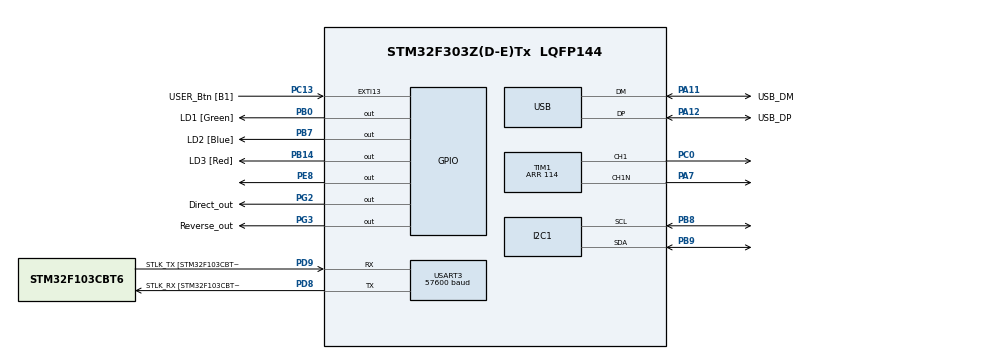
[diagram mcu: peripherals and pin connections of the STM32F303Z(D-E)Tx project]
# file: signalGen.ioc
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Mcu.Family=STM32F3
Mcu.Name=STM32F303Z(D-E)Tx
Mcu.Package=LQFP144
NVIC.I2C1_ER_IRQn=true\:0\:0\:false\:false\:true\:true\:true
NVIC.I2C1_EV_IRQn=true\:0\:0\:false\:false\:true\:true\:true
NVIC.PriorityGroup=NVIC_PRIORITYGROUP_4
NVIC.TIM6_DAC_IRQn=true\:0\:0\:false\:false\:true\:true\:true
NVIC.USART3_IRQn=true\:0\:0\:false\:false\:true\:true\:true
NVIC.USB_LP_CAN_RX0_IRQn=true\:0\:0\:false\:false\:true\:true\:true
PA11.GPIO_Label=USB_DM
PA11.Mode=Device
PA11.Signal=USB_DM
PA12.GPIO_Label=USB_DP
PA12.Mode=Device
PA12.Signal=USB_DP
PA13.GPIO_Label=TMS
PA13.Mode=Serial_Wire
PA13.Signal=SYS_JTMS-SWDIO
PA14.GPIO_Label=TCK
PA14.Mode=Serial_Wire
PA14.Signal=SYS_JTCK-SWCLK
PA7.Mode=PWM Generation1 CH1 CH1N
PA7.Signal=TIM1_CH1N
PB0.GPIO_Label=LD1 [Green]
PB0.Signal=GPIO_Output
PB14.GPIO_Label=LD3 [Red]
PB14.Signal=GPIO_Output
PB3.GPIO_Label=SWO
PB3.Signal=SYS_JTDO-TRACESWO
PB7.GPIO_Label=LD2 [Blue]
PB7.Signal=GPIO_Output
PB8.Mode=I2C
PB8.Signal=I2C1_SCL
PB9.Mode=I2C
PB9.Signal=I2C1_SDA
PC0.Signal=S_TIM1_CH1
PC13.GPIO_Label=USER_Btn [B1]
PC13.Signal=GPXTI13
PC14-OSC32_IN.Mode=LSE-External-Oscillator
PC14-OSC32_IN.Signal=RCC_OSC32_IN
PC15-OSC32_OUT.Mode=LSE-External-Oscillator
PC15-OSC32_OUT.Signal=RCC_OSC32_OUT
PD8.GPIO_Label=STLK_RX [STM32F103CBT6_PA3]
PD8.Mode=Asynchronous
PD8.Signal=USART3_TX
PD9.GPIO_Label=STLK_TX [STM32F103CBT6_PA2]
PD9.Mode=Asynchronous
PD9.Signal=USART3_RX
PE8.PinState=GPIO_PIN_RESET
PE8.Signal=GPIO_Output
PF0-OSC_IN.GPIO_Label=MCO [STM32F103CBT6_PA8]
PF0-OSC_IN.Mode=HSE-External-Clock-Source
PF0-OSC_IN.Signal=RCC_OSC_IN
PG2.GPIO_Label=Direct_out
PG2.GPIO_Speed=GPIO_SPEED_FREQ_MEDIUM
PG2.PinState=GPIO_PIN_SET
PG2.Signal=GPIO_Output
PG3.GPIO_Label=Reverse_out
PG3.GPIO_Speed=GPIO_SPEED_FREQ_MEDIUM
PG3.PinState=GPIO_PIN_SET
PG3.Signal=GPIO_Output
ProjectManager.HeapSize=0x200
ProjectManager.StackSize=0x400
ProjectManager.TargetToolchain=MDK-ARM V5.27
RCC.AHBFreq_Value=72000000
RCC.APB1CLKDivider=RCC_HCLK_DIV2
RCC.APB1Freq_Value=36000000
RCC.APB1TimFreq_Value=72000000
RCC.APB2Freq_Value=72000000
RCC.APB2TimFreq_Value=72000000
RCC.CortexFreq_Value=72000000
RCC.HCLKFreq_Value=72000000
RCC.HSE_VALUE=8000000
RCC.HSI_VALUE=8000000
RCC.PLLMUL=RCC_PLL_MUL9
RCC.PRESCALERUSB=RCC_USBCLKSOURCE_PLL_DIV1_5
RCC.SYSCLKFreq_VALUE=72000000
RCC.SYSCLKSourceVirtual=RCC_SYSCLKSOURCE_PLLCLK
RCC.USBFreq_Value=48000000
SH.S_TIM1_CH1.0=TIM1_CH1,PWM Generation1 CH1 CH1N
TIM1.Break2Polarity=TIM_BREAK2POLARITY_LOW
TIM1.BreakPolarity=TIM_BREAKPOLARITY_LOW
TIM1.Channel-PWM\ Generation1\ CH1\ CH1N=TIM_CHANNEL_1
TIM1.CounterMode=TIM_COUNTERMODE_UP
TIM1.OCNIdleState_1=TIM_OCNIDLESTATE_RESET
TIM1.OCNPolarity_1=TIM_OCNPOLARITY_LOW
TIM1.OCPolarity_1=TIM_OCPOLARITY_LOW
TIM1.Period=114
TIM1.Pulse-PWM\ Generation1\ CH1\ CH1N=44
TIM6.Period=100
TIM6.Prescaler=720
USART3.BaudRate=57600
USART3.VirtualMode-Asynchronous=VM_ASYNC
VP_RTC_VS_RTC_Activate.Mode=RTC_Enabled
VP_TIM1_VS_ClockSourceINT.Mode=Internal
VP_TIM6_VS_ClockSourceINT.Mode=Enable_Timer
board=NUCLEO-F303ZE

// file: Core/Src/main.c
/* USER CODE BEGIN Header */
/**
  ******************************************************************************
  * @file           : main.c
  * @brief          : Main program body
  ******************************************************************************
  * @attention
  *
  * Copyright (c) 2022 STMicroelectronics.
  * All rights reserved.
  *
  * This software is licensed under terms that can be found in the LICENSE file
  * in the root directory of this software component.
  * If no LICENSE file comes with this software, it is provided AS-IS.
  *
  ******************************************************************************
  */
/* USER CODE END Header */
#include "main.h"

/* USER CODE BEGIN Includes */

#include <stdio.h>
#include "stm32f3xx_ll_tim.h"
#include "pulsegen.h"
//#include "uart_io.h"
#include "tmp1075.h"
#include "vars_it.h"
#include "global_io.h"

/* USER CODE END Includes */

I2C_HandleTypeDef hi2c1;

TIM_HandleTypeDef htim1;
TIM_HandleTypeDef htim6;

PCD_HandleTypeDef hpcd_USB_FS;

/* USER CODE BEGIN PV */
uint16_t impulseFlagIT = 0;
/* USER CODE END PV */

void SystemClock_Config(void);
static void MX_GPIO_Init(void);
static void MX_RTC_Init(void);
static void MX_USART3_UART_Init(void);
static void MX_USB_PCD_Init(void);
static void MX_TIM1_Init(void);
static void MX_TIM6_Init(void);
static void MX_I2C1_Init(void);

int main(void)
{
  /* USER CODE BEGIN 1 */

	// Filling the structure of TIM 1 common parameters
	tim1SetCmnParameters();
  /* USER CODE END 1 */

  /* MCU Configuration--------------------------------------------------------*/

  /* Reset of all peripherals, Initializes the Flash interface and the Systick. */
  HAL_Init();

  /* Configure the system clock */
  SystemClock_Config();

  /* Initialize all configured peripherals */
  MX_GPIO_Init();
  MX_RTC_Init();
  MX_USART3_UART_Init();
  MX_USB_PCD_Init();
  MX_TIM1_Init();
  MX_TIM6_Init();
  MX_I2C1_Init();
  /* USER CODE BEGIN 2 */

	// ------------My Initialize TIM 1 ---------------
	tim1InitCmnParameters();

	// Initialize TIM1 in PWM mode.
	// Outputs PC0 and PA7 are confirured as Timer's generation outputs (CH1 and inverted CH1).
	HAL_TIM_PWM_Start_IT(&htim1, TIM_CHANNEL_1);
	HAL_TIMEx_PWMN_Start(&htim1, TIM_CHANNEL_1);

	// Starting TIM6 in interrupt.
	HAL_TIM_Base_Start_IT(&htim6);

	// ------------My Initialize I2C1 ---------------
	// Configure as a host
	SET_BIT(I2C1->CR1, I2C_CR1_SMBHEN);

	// Alert interrupts enable
	SET_BIT(I2C1->CR1, I2C_CR1_ERRIE);
	SET_BIT(I2C1->CR1, I2C_CR1_ALERTEN);

	// Init Alert pin
	LL_GPIO_InitTypeDef GPIO_InitStruct = {0};

  GPIO_InitStruct.Pin = LL_GPIO_PIN_5;
  GPIO_InitStruct.Mode = LL_GPIO_MODE_ALTERNATE;
  GPIO_InitStruct.Speed = LL_GPIO_SPEED_FREQ_HIGH;
  GPIO_InitStruct.OutputType = LL_GPIO_OUTPUT_OPENDRAIN;
  GPIO_InitStruct.Pull = LL_GPIO_PULL_NO;
  GPIO_InitStruct.Alternate = LL_GPIO_AF_4;
  LL_GPIO_Init(GPIOB, &GPIO_InitStruct);

	// TESTING:
	// fill the tmp structs
	setAllDefaultTmpParameters(DEFAULT_TLOW, DEFAULT_THIGH, ON);
	setIndividualTmpParameters(4, 0, 29, OFF);
	setIndividualTmpParameters(10, 100, 126, OFF);
	setIndividualTmpParameters(11, 100, 122, ON);
	showAllTmpParameters(ON);

	// Transmit param through uart
	// ~TESTING:

	fillConnectedTmpBufferByDefault();

	// Init Alerts in tmp1075
	initAlertSelectedTmps(connectedTmpNums, tmpBufSize);

	// Set number of faults for crossing the high level limit of temperature
	initNumFaultsSelectedTmps(connectedTmpNums, tmpBufSize, 4);

	//Init the USART IT for event of filling data register
	LL_USART_EnableIT_RXNE(USART3);
	//LL_USART_EnableIT_TC(USART3);

  /* USER CODE END 2 */

  /* Infinite loop */
  /* USER CODE BEGIN WHILE */
  while (1)
  {
		tempOutput();
		handlerAlertIT(connectedTmpNums, tmpBufSize);
		inputCommandWizard();

    /* USER CODE END WHILE */

  }
}

void SystemClock_Config(void)
{
  LL_FLASH_SetLatency(LL_FLASH_LATENCY_2);
  while(LL_FLASH_GetLatency()!= LL_FLASH_LATENCY_2)
  {
  }
  LL_RCC_HSE_EnableBypass();
  LL_RCC_HSE_Enable();

   /* Wait till HSE is ready */
  while(LL_RCC_HSE_IsReady() != 1)
  {

  }
  LL_RCC_HSI_Enable();

   /* Wait till HSI is ready */
  while(LL_RCC_HSI_IsReady() != 1)
  {

  }
  LL_RCC_HSI_SetCalibTrimming(16);
  LL_RCC_LSI_Enable();

   /* Wait till LSI is ready */
  while(LL_RCC_LSI_IsReady() != 1)
  {

  }
  LL_PWR_EnableBkUpAccess();
  if(LL_RCC_GetRTCClockSource() != LL_RCC_RTC_CLKSOURCE_LSI)
  {
    LL_RCC_ForceBackupDomainReset();
    LL_RCC_ReleaseBackupDomainReset();
    LL_RCC_SetRTCClockSource(LL_RCC_RTC_CLKSOURCE_LSI);
  }
  LL_RCC_EnableRTC();
  LL_RCC_PLL_ConfigDomain_SYS(LL_RCC_PLLSOURCE_HSE, LL_RCC_PLL_MUL_9, LL_RCC_PREDIV_DIV_1);
  LL_RCC_PLL_Enable();

   /* Wait till PLL is ready */
  while(LL_RCC_PLL_IsReady() != 1)
  {

  }
  LL_RCC_SetAHBPrescaler(LL_RCC_SYSCLK_DIV_1);
  LL_RCC_SetAPB1Prescaler(LL_RCC_APB1_DIV_2);
  LL_RCC_SetAPB2Prescaler(LL_RCC_APB2_DIV_1);
  LL_RCC_SetSysClkSource(LL_RCC_SYS_CLKSOURCE_PLL);

   /* Wait till System clock is ready */
  while(LL_RCC_GetSysClkSource() != LL_RCC_SYS_CLKSOURCE_STATUS_PLL)
  {

  }
  LL_SetSystemCoreClock(72000000);

   /* Update the time base */
  if (HAL_InitTick (TICK_INT_PRIORITY) != HAL_OK)
  {
    Error_Handler();
  }
  LL_RCC_SetUSARTClockSource(LL_RCC_USART3_CLKSOURCE_PCLK1);
  LL_RCC_SetI2CClockSource(LL_RCC_I2C1_CLKSOURCE_HSI);
  LL_RCC_SetTIMClockSource(LL_RCC_TIM1_CLKSOURCE_PCLK2);
  LL_RCC_SetUSBClockSource(LL_RCC_USB_CLKSOURCE_PLL_DIV_1_5);
}

static void MX_I2C1_Init(void)
{

  hi2c1.Instance = I2C1;
  hi2c1.Init.Timing = 0x2000090E;
  hi2c1.Init.OwnAddress1 = 0;
  hi2c1.Init.AddressingMode = I2C_ADDRESSINGMODE_7BIT;
  hi2c1.Init.DualAddressMode = I2C_DUALADDRESS_DISABLE;
  hi2c1.Init.OwnAddress2 = 0;
  hi2c1.Init.OwnAddress2Masks = I2C_OA2_NOMASK;
  hi2c1.Init.GeneralCallMode = I2C_GENERALCALL_DISABLE;
  hi2c1.Init.NoStretchMode = I2C_NOSTRETCH_DISABLE;
  if (HAL_I2C_Init(&hi2c1) != HAL_OK)
  {
    Error_Handler();
  }
  /** Configure Analogue filter
  */
  if (HAL_I2CEx_ConfigAnalogFilter(&hi2c1, I2C_ANALOGFILTER_ENABLE) != HAL_OK)
  {
    Error_Handler();
  }
  /** Configure Digital filter
  */
  if (HAL_I2CEx_ConfigDigitalFilter(&hi2c1, 0) != HAL_OK)
  {
    Error_Handler();
  }

}

static void MX_RTC_Init(void)
{

  LL_RTC_InitTypeDef RTC_InitStruct = {0};

  /* Peripheral clock enable */
  LL_RCC_EnableRTC();

  /** Initialize RTC and set the Time and Date
  */
  RTC_InitStruct.HourFormat = LL_RTC_HOURFORMAT_24HOUR;
  RTC_InitStruct.AsynchPrescaler = 127;
  RTC_InitStruct.SynchPrescaler = 255;
  LL_RTC_Init(RTC, &RTC_InitStruct);
  LL_RTC_SetAsynchPrescaler(RTC, 127);
  LL_RTC_SetSynchPrescaler(RTC, 255);

}

static void MX_TIM1_Init(void)
{

  TIM_ClockConfigTypeDef sClockSourceConfig = {0};
  TIM_MasterConfigTypeDef sMasterConfig = {0};
  TIM_OC_InitTypeDef sConfigOC = {0};
  TIM_BreakDeadTimeConfigTypeDef sBreakDeadTimeConfig = {0};

  htim1.Instance = TIM1;
  htim1.Init.Prescaler = 0;
  htim1.Init.CounterMode = TIM_COUNTERMODE_UP;
  htim1.Init.Period = 114;
  htim1.Init.ClockDivision = TIM_CLOCKDIVISION_DIV1;
  htim1.Init.RepetitionCounter = 0;
  htim1.Init.AutoReloadPreload = TIM_AUTORELOAD_PRELOAD_DISABLE;
  if (HAL_TIM_Base_Init(&htim1) != HAL_OK)
  {
    Error_Handler();
  }
  sClockSourceConfig.ClockSource = TIM_CLOCKSOURCE_INTERNAL;
  if (HAL_TIM_ConfigClockSource(&htim1, &sClockSourceConfig) != HAL_OK)
  {
    Error_Handler();
  }
  if (HAL_TIM_PWM_Init(&htim1) != HAL_OK)
  {
    Error_Handler();
  }
  sMasterConfig.MasterOutputTrigger = TIM_TRGO_RESET;
  sMasterConfig.MasterOutputTrigger2 = TIM_TRGO2_RESET;
  sMasterConfig.MasterSlaveMode = TIM_MASTERSLAVEMODE_DISABLE;
  if (HAL_TIMEx_MasterConfigSynchronization(&htim1, &sMasterConfig) != HAL_OK)
  {
    Error_Handler();
  }
  sConfigOC.OCMode = TIM_OCMODE_PWM1;
  sConfigOC.Pulse = 44;
  sConfigOC.OCPolarity = TIM_OCPOLARITY_LOW;
  sConfigOC.OCNPolarity = TIM_OCNPOLARITY_LOW;
  sConfigOC.OCFastMode = TIM_OCFAST_DISABLE;
  sConfigOC.OCIdleState = TIM_OCIDLESTATE_RESET;
  sConfigOC.OCNIdleState = TIM_OCNIDLESTATE_RESET;
  if (HAL_TIM_PWM_ConfigChannel(&htim1, &sConfigOC, TIM_CHANNEL_1) != HAL_OK)
  {
    Error_Handler();
  }
  sBreakDeadTimeConfig.OffStateRunMode = TIM_OSSR_DISABLE;
  sBreakDeadTimeConfig.OffStateIDLEMode = TIM_OSSI_DISABLE;
  sBreakDeadTimeConfig.LockLevel = TIM_LOCKLEVEL_OFF;
  sBreakDeadTimeConfig.DeadTime = 0;
  sBreakDeadTimeConfig.BreakState = TIM_BREAK_DISABLE;
  sBreakDeadTimeConfig.BreakPolarity = TIM_BREAKPOLARITY_LOW;
  sBreakDeadTimeConfig.BreakFilter = 0;
  sBreakDeadTimeConfig.Break2State = TIM_BREAK2_DISABLE;
  sBreakDeadTimeConfig.Break2Polarity = TIM_BREAK2POLARITY_LOW;
  sBreakDeadTimeConfig.Break2Filter = 0;
  sBreakDeadTimeConfig.AutomaticOutput = TIM_AUTOMATICOUTPUT_DISABLE;
  if (HAL_TIMEx_ConfigBreakDeadTime(&htim1, &sBreakDeadTimeConfig) != HAL_OK)
  {
    Error_Handler();
  }
  HAL_TIM_MspPostInit(&htim1);

}

static void MX_TIM6_Init(void)
{

  TIM_MasterConfigTypeDef sMasterConfig = {0};

  htim6.Instance = TIM6;
  htim6.Init.Prescaler = 720;
  htim6.Init.CounterMode = TIM_COUNTERMODE_UP;
  htim6.Init.Period = 100;
  htim6.Init.AutoReloadPreload = TIM_AUTORELOAD_PRELOAD_DISABLE;
  if (HAL_TIM_Base_Init(&htim6) != HAL_OK)
  {
    Error_Handler();
  }
  sMasterConfig.MasterOutputTrigger = TIM_TRGO_RESET;
  sMasterConfig.MasterSlaveMode = TIM_MASTERSLAVEMODE_DISABLE;
  if (HAL_TIMEx_MasterConfigSynchronization(&htim6, &sMasterConfig) != HAL_OK)
  {
    Error_Handler();
  }

}

static void MX_USART3_UART_Init(void)
{

  LL_USART_InitTypeDef USART_InitStruct = {0};

  LL_GPIO_InitTypeDef GPIO_InitStruct = {0};

  /* Peripheral clock enable */
  LL_APB1_GRP1_EnableClock(LL_APB1_GRP1_PERIPH_USART3);

  LL_AHB1_GRP1_EnableClock(LL_AHB1_GRP1_PERIPH_GPIOD);
  /**USART3 GPIO Configuration
  PD8   ------> USART3_TX
  PD9   ------> USART3_RX
  */
  GPIO_InitStruct.Pin = STLK_RX_Pin|STLK_TX_Pin;
  GPIO_InitStruct.Mode = LL_GPIO_MODE_ALTERNATE;
  GPIO_InitStruct.Speed = LL_GPIO_SPEED_FREQ_HIGH;
  GPIO_InitStruct.OutputType = LL_GPIO_OUTPUT_PUSHPULL;
  GPIO_InitStruct.Pull = LL_GPIO_PULL_NO;
  GPIO_InitStruct.Alternate = LL_GPIO_AF_7;
  LL_GPIO_Init(GPIOD, &GPIO_InitStruct);

  /* USART3 interrupt Init */
  NVIC_SetPriority(USART3_IRQn, NVIC_EncodePriority(NVIC_GetPriorityGrouping(),0, 0));
  NVIC_EnableIRQ(USART3_IRQn);

  USART_InitStruct.BaudRate = 57600;
  USART_InitStruct.DataWidth = LL_USART_DATAWIDTH_8B;
  USART_InitStruct.StopBits = LL_USART_STOPBITS_1;
  USART_InitStruct.Parity = LL_USART_PARITY_NONE;
  USART_InitStruct.TransferDirection = LL_USART_DIRECTION_TX_RX;
  USART_InitStruct.HardwareFlowControl = LL_USART_HWCONTROL_NONE;
  USART_InitStruct.OverSampling = LL_USART_OVERSAMPLING_16;
  LL_USART_Init(USART3, &USART_InitStruct);
  LL_USART_DisableIT_CTS(USART3);
  LL_USART_ConfigAsyncMode(USART3);
  LL_USART_Enable(USART3);

}

static void MX_USB_PCD_Init(void)
{

  hpcd_USB_FS.Instance = USB;
  hpcd_USB_FS.Init.dev_endpoints = 8;
  hpcd_USB_FS.Init.speed = PCD_SPEED_FULL;
  hpcd_USB_FS.Init.phy_itface = PCD_PHY_EMBEDDED;
  hpcd_USB_FS.Init.low_power_enable = DISABLE;
  hpcd_USB_FS.Init.lpm_enable = DISABLE;
  hpcd_USB_FS.Init.battery_charging_enable = DISABLE;
  if (HAL_PCD_Init(&hpcd_USB_FS) != HAL_OK)
  {
    Error_Handler();
  }

}

static void MX_GPIO_Init(void)
{
  LL_EXTI_InitTypeDef EXTI_InitStruct = {0};
  LL_GPIO_InitTypeDef GPIO_InitStruct = {0};

  /* GPIO Ports Clock Enable */
  LL_AHB1_GRP1_EnableClock(LL_AHB1_GRP1_PERIPH_GPIOC);
  LL_AHB1_GRP1_EnableClock(LL_AHB1_GRP1_PERIPH_GPIOF);
  LL_AHB1_GRP1_EnableClock(LL_AHB1_GRP1_PERIPH_GPIOA);
  LL_AHB1_GRP1_EnableClock(LL_AHB1_GRP1_PERIPH_GPIOB);
  LL_AHB1_GRP1_EnableClock(LL_AHB1_GRP1_PERIPH_GPIOE);
  LL_AHB1_GRP1_EnableClock(LL_AHB1_GRP1_PERIPH_GPIOD);
  LL_AHB1_GRP1_EnableClock(LL_AHB1_GRP1_PERIPH_GPIOG);

  /**/
  LL_GPIO_ResetOutputPin(GPIOB, LD1_Pin|LD3_Pin|LD2_Pin);

  /**/
  LL_GPIO_ResetOutputPin(GPIOE, LL_GPIO_PIN_8);

  /**/
  LL_GPIO_SetOutputPin(GPIOG, Direct_out_Pin|Reverse_out_Pin);

  /**/
  LL_SYSCFG_SetEXTISource(LL_SYSCFG_EXTI_PORTC, LL_SYSCFG_EXTI_LINE13);

  /**/
  LL_GPIO_SetPinPull(USER_Btn_GPIO_Port, USER_Btn_Pin, LL_GPIO_PULL_NO);

  /**/
  LL_GPIO_SetPinMode(USER_Btn_GPIO_Port, USER_Btn_Pin, LL_GPIO_MODE_INPUT);

  /**/
  EXTI_InitStruct.Line_0_31 = LL_EXTI_LINE_13;
  EXTI_InitStruct.Line_32_63 = LL_EXTI_LINE_NONE;
  EXTI_InitStruct.LineCommand = ENABLE;
  EXTI_InitStruct.Mode = LL_EXTI_MODE_IT;
  EXTI_InitStruct.Trigger = LL_EXTI_TRIGGER_RISING;
  LL_EXTI_Init(&EXTI_InitStruct);

  /**/
  GPIO_InitStruct.Pin = LD1_Pin|LD3_Pin|LD2_Pin;
  GPIO_InitStruct.Mode = LL_GPIO_MODE_OUTPUT;
  GPIO_InitStruct.Speed = LL_GPIO_SPEED_FREQ_LOW;
  GPIO_InitStruct.OutputType = LL_GPIO_OUTPUT_PUSHPULL;
  GPIO_InitStruct.Pull = LL_GPIO_PULL_NO;
  LL_GPIO_Init(GPIOB, &GPIO_InitStruct);

  /**/
  GPIO_InitStruct.Pin = LL_GPIO_PIN_8;
  GPIO_InitStruct.Mode = LL_GPIO_MODE_OUTPUT;
  GPIO_InitStruct.Speed = LL_GPIO_SPEED_FREQ_LOW;
  GPIO_InitStruct.OutputType = LL_GPIO_OUTPUT_PUSHPULL;
  GPIO_InitStruct.Pull = LL_GPIO_PULL_NO;
  LL_GPIO_Init(GPIOE, &GPIO_InitStruct);

  /**/
  GPIO_InitStruct.Pin = Direct_out_Pin|Reverse_out_Pin;
  GPIO_InitStruct.Mode = LL_GPIO_MODE_OUTPUT;
  GPIO_InitStruct.Speed = LL_GPIO_SPEED_FREQ_MEDIUM;
  GPIO_InitStruct.OutputType = LL_GPIO_OUTPUT_PUSHPULL;
  GPIO_InitStruct.Pull = LL_GPIO_PULL_NO;
  LL_GPIO_Init(GPIOG, &GPIO_InitStruct);

}

void Error_Handler(void)
{
  __disable_irq();
  while (1)
  {
  }
}
